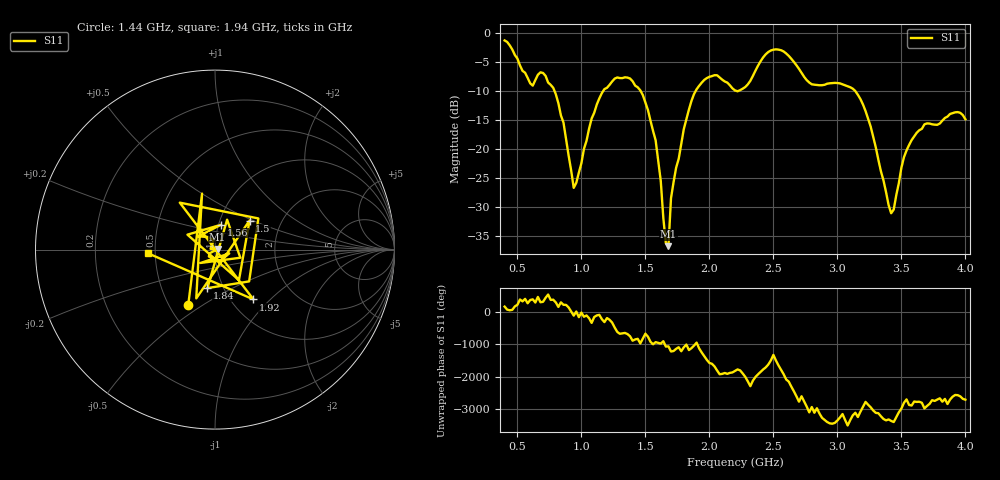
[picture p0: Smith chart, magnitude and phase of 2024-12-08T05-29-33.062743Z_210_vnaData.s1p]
!Created with skrf (http://scikit-rf.org).
# Hz S RI R 50.0
!freq ReS11 ImS11
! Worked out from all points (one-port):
!   181 points, 400 MHz to 4 GHz, reference 50 ohm
!   lowest |S11| = -36.8 dB at 1.68 GHz (marker M1), VSWR 1.03, Z = 51.4 + j0.32 ohm
!   |S11| at or under -10 dB: 789.8 MHz to 1.17 GHz (380.7 MHz wide, 38.8 % of centre); 1.463 GHz to 1.893 GHz (430.1 MHz wide, 25.6 % of centre); 3.139 GHz to end of sweep (the widest 3 of 4)
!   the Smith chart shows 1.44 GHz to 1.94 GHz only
!   S11 on the Smith chart (normalised r, x): 1.44 GHz: 0.63, -0.43; 1.5 GHz: 1.38, +0.48; 1.56 GHz: 1.03, +0.29; 1.84 GHz: 0.84, -0.38; 1.92 GHz: 1.26, -0.80; 1.94 GHz: 0.46, -0.02
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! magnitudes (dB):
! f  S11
! 400 MHz  -1.3
! 620 MHz  -9.1
! 720 MHz  -7.4
! 860 MHz  -15.5
! 940 MHz  -26.7
! 1.14 GHz  -11.3
! 1.3 GHz  -7.8
! 1.44 GHz  -9.4
! 1.5 GHz  -12.0
! 1.56 GHz  -16.9
! 1.62 GHz  -25.5
! 1.66 GHz  -36.3
! 1.68 GHz  -36.8
! 1.7 GHz  -28.5
! 1.76 GHz  -21.7
! 1.84 GHz  -13.2
! 1.92 GHz  -9.1
! 1.94 GHz  -8.6
! 2.2 GHz  -9.9
! 2.48 GHz  -3.0
! 2.66 GHz  -5.0
! 2.8 GHz  -8.8
! 3.1 GHz  -9.4
! 3.26 GHz  -16.1
! 3.42 GHz  -31.1
! 3.56 GHz  -19.3
! 3.68 GHz  -15.8
! 4 GHz  -14.9
